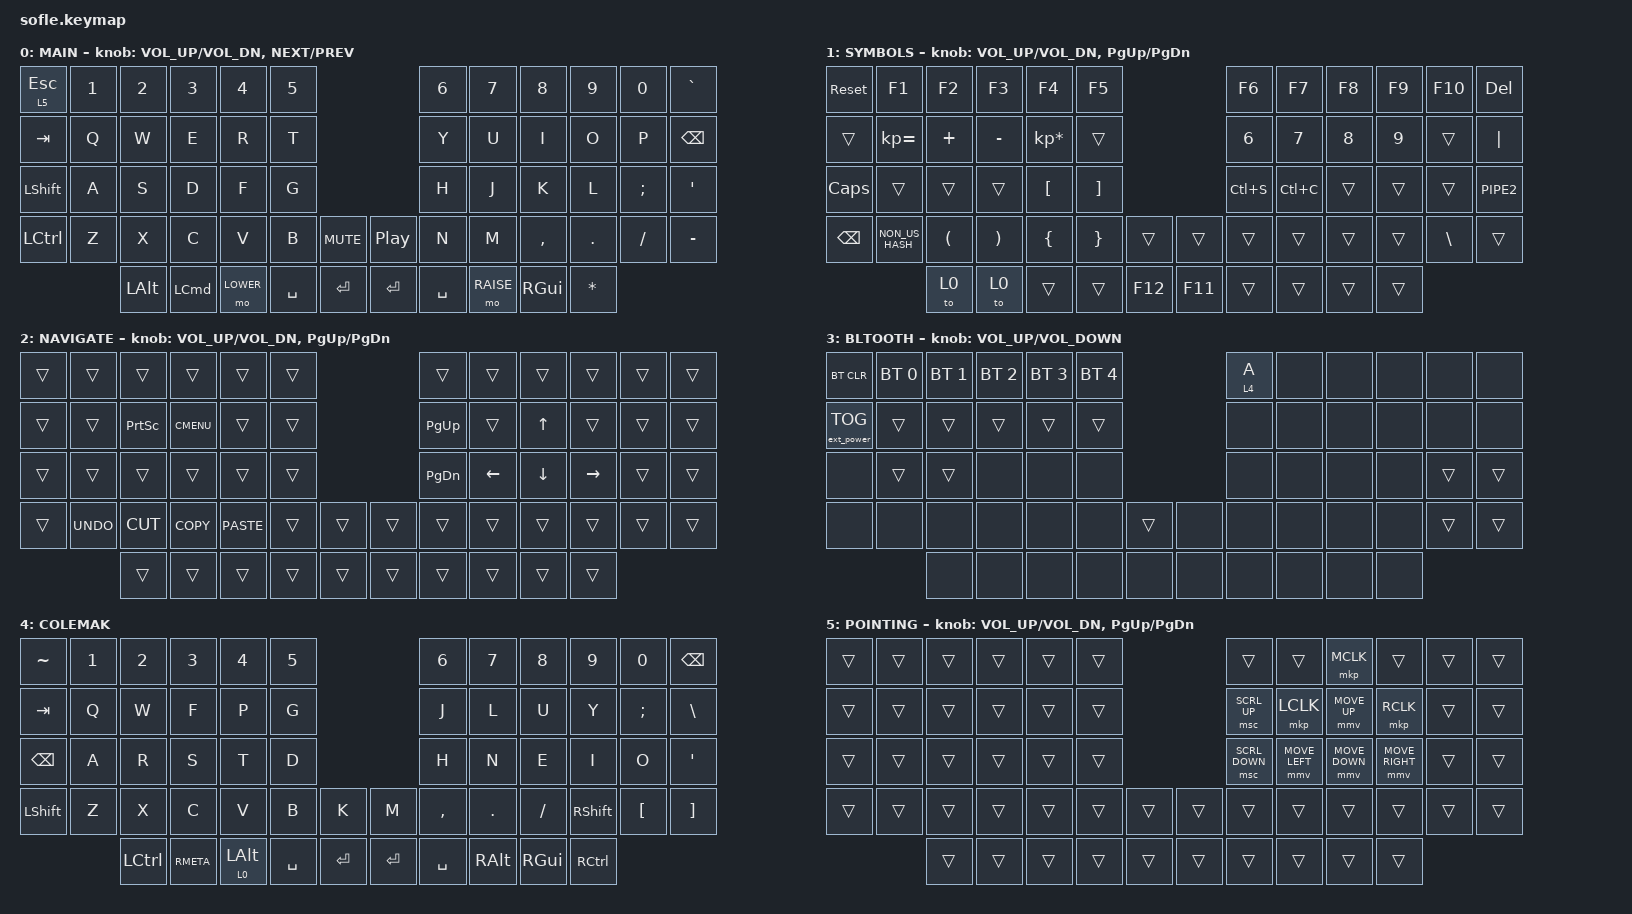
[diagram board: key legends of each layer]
/*
 * Copyright (c) 2020 The ZMK Contributors
 *
 * SPDX-License-Identifier: MIT
 */

#include <behaviors.dtsi>
#include <dt-bindings/zmk/bt.h>
#include <dt-bindings/zmk/ext_power.h>
#include <dt-bindings/zmk/keys.h>
#include <dt-bindings/zmk/pointing.h>

#define BASE 0
#define LOWER 1
#define RAISE 2
#define ADJUST 3
#define COLEMAK 4
#define POINTING 5

/ {
    // Activate ADJUST layer by pressing raise and lower

    conditional_layers {
        compatible = "zmk,conditional-layers";

        adjust_layer {
            if-layers = <1 2>;
            then-layer = <3>;
        };
    };

    keymap {
        compatible = "zmk,keymap";

        MAIN {
            display-name = "MAIN";

            bindings = <
&lt 5 ESCAPE      &kp N1  &kp N2        &kp N3            &kp N4      &kp N5                                     &kp N6     &kp N7    &kp N8         &kp N9     &kp N0    &kp GRAVE
&kp TAB         &kp Q   &kp W         &kp E             &kp R       &kp T                                      &kp Y      &kp U     &kp I          &kp O      &kp P     &kp BACKSPACE
&kp LEFT_SHIFT  &kp A   &kp S         &kp D             &kp F       &kp G                                      &kp H      &kp J     &kp K          &kp L      &kp SEMI  &kp SQT
&kp LCTRL       &kp Z   &kp X         &kp C             &kp V       &kp B      &kp C_MUTE    &kp C_PLAY_PAUSE  &kp N      &kp M     &kp COMMA      &kp DOT    &kp FSLH  &kp MINUS
                        &kp LEFT_ALT  &kp LEFT_COMMAND  &mo LOWER   &kp SPACE  &kp ENTER     &kp ENTER         &kp SPACE  &mo RAISE &kp RIGHT_GUI  &kp ASTRK
            >;

            sensor-bindings =
                <&inc_dec_kp C_VOL_UP C_VOL_DN>,
                <&inc_dec_kp C_NEXT C_PREV>;
        };

        SYMBOLS {
            display-name = "SYMBOLS";

            // TODO: Some binds are waiting for shifted keycode support.
            // ------------------------------------------------------------------------------------------------------------
            // |       |  F1 |  F2 |  F3  |  F4  |  F5  |                   |  F6  |  F7   |  F8   |  F9  |  F10  |  F11  |
            // |   `   |  1  |  2  |  3   |  4   |  5   |                   |  6   |  7    |  8    |  9   |   0   |  F12  |
            // |       |  !  |  @  |  #   |  $   |  %   |                   |  ^   |  &    |  *    |  (   |   )   |   |   |
            // |       |  =  |  -  |  +   |  {   |  }   |        |  |       |  [   |  ]    |  ;    |  :   |   \   |       |
            //               |     |      |      |      |        |  |       |      |       |       |      |

            bindings = <
&sys_reset     &kp F1           &kp F2                &kp F3                 &kp F4            &kp F5                                 &kp F6        &kp F7     &kp F8  &kp F9  &kp F10   &kp DELETE
&trans         &kp KP_EQUAL     &kp PLUS              &kp MINUS              &kp KP_ASTERISK   &trans                                 &kp NUMBER_6  &kp N7     &kp N8  &kp N9  &trans    &kp PIPE
&kp CAPS       &trans           &trans                &trans                 &kp LEFT_BRACKET  &kp RIGHT_BRACKET                      &kp LC(S)     &kp LC(C)  &trans  &trans  &trans    &kp PIPE2
&kp BACKSPACE  &kp NON_US_HASH  &kp LEFT_PARENTHESIS  &kp RIGHT_PARENTHESIS  &kp LBRC          &kp RBRC           &trans     &trans   &trans        &trans     &trans  &trans  &kp BSLH  &trans
                                &to 0                 &to 0                  &trans            &trans             &kp F12    &kp F11  &trans        &trans     &trans  &trans
            >;

            sensor-bindings = <&inc_dec_kp C_VOL_UP C_VOL_DN &inc_dec_kp PG_UP PG_DN>;
        };


        NAVIGATE {
            display-name = "NAVIGATE";

            // ------------------------------------------------------------------------------------------------------------
            // | BTCLR | BT1  | BT2  |  BT3  |  BT4  |  BT5 |                |      |      |       |      |       |       |
            // |       | INS  | PSCR | GUI   |       |      |                | PGUP |      |   ^   |      |       |       |
            // |       | ALT  | CTRL | SHIFT |       | CAPS |                | PGDN |   <- |   v   |  ->  |  DEL  | BKSPC |
            // |       | UNDO | CUT  | COPY  | PASTE |      |      |  |      |      |      |       |      |       |       |
            //                |      |       |       |      |      |  |      |      |      |       |      |

            bindings = <
&trans  &trans      &trans     &trans       &trans       &trans                    &trans     &trans    &trans    &trans     &trans  &trans
&trans  &trans      &kp PSCRN  &kp K_CMENU  &trans       &trans                    &kp PG_UP  &trans    &kp UP    &trans     &trans  &trans
&trans  &trans      &trans     &trans       &trans       &trans                    &kp PG_DN  &kp LEFT  &kp DOWN  &kp RIGHT  &trans  &trans
&trans  &kp K_UNDO  &kp K_CUT  &kp K_COPY   &kp K_PASTE  &trans  &trans    &trans  &trans     &trans    &trans    &trans     &trans  &trans
                    &trans     &trans       &trans       &trans  &trans    &trans  &trans     &trans    &trans    &trans
            >;

            sensor-bindings = <&inc_dec_kp C_VOL_UP C_VOL_DN &inc_dec_kp PG_UP PG_DN>;
        };

        BLTOOTH {
            // ----------------------------------------------------------------------------------------------------------------------------
            // | BTCLR  |  BT1    |  BT2    |   BT3   |   BT4   |   BT5   |                  |      |      |       |      |       |       |
            // | EXTPWR | RGB_HUD | RGB_HUI | RGB_SAD | RGB_SAI | RGB_EFF |                  |      |      |       |      |       |       |
            // |        | RGB_BRD | RGB_BRI |         |         |         |                  |      |      |       |      |       |       |
            // |        |         |         |         |         |         | RGB_TOG | |      |      |      |       |      |       |       |
            //                    |         |         |         |         |         | |      |      |      |       |      |

            display-name = "BLTOOTH";
            bindings = <
&bt BT_CLR         &bt BT_SEL 0  &bt BT_SEL 1  &bt BT_SEL 2  &bt BT_SEL 3  &bt BT_SEL 4                   &lt 4 A  &none  &none  &none  &none   &none
&ext_power EP_TOG  &trans        &trans        &trans        &trans        &trans                         &none    &none  &none  &none  &none   &none
&none              &trans        &trans        &none         &none         &none                          &none    &none  &none  &none  &trans  &trans
&none              &none         &none         &none         &none         &none         &trans    &none  &none    &none  &none  &none  &trans  &trans
                                 &none         &none         &none         &none         &none     &none  &none    &none  &none  &none
            >;

            sensor-bindings = <&inc_dec_kp K_VOLUME_UP C_VOLUME_DOWN>;
        };

        COLEMAK {
            bindings = <
&kp TILDE  &kp N1  &kp N2     &kp N3     &kp N4          &kp N5                             &kp N6     &kp N7    &kp N8    &kp N9     &kp N0    &kp BSPC
&kp TAB    &kp Q   &kp W      &kp F      &kp P           &kp G                              &kp J      &kp L     &kp U     &kp Y      &kp SEMI  &kp BSLH
&kp BSPC   &kp A   &kp R      &kp S      &kp T           &kp D                              &kp H      &kp N     &kp E     &kp I      &kp O     &kp APOS
&kp LSHFT  &kp Z   &kp X      &kp C      &kp V           &kp B      &kp K        &kp M      &kp COMMA  &kp DOT   &kp FSLH  &kp RSHFT  &kp LBKT  &kp RBKT
                   &kp LCTRL  &kp RMETA  &lt 0 LEFT_ALT  &kp SPACE  &kp ENTER    &kp ENTER  &kp SPACE  &kp RALT  &kp RGUI  &kp RCTRL
            >;
        };

        POINTING {
            display-name = "POINTING";

            bindings = <
&trans  &trans      &trans     &trans       &trans       &trans                    &trans           &trans            &mkp MCLK       &trans            &trans  &trans
&trans  &trans      &trans     &trans       &trans       &trans                    &msc SCRL_UP     &mkp LCLK         &mmv MOVE_UP    &mkp RCLK         &trans  &trans
&trans  &trans      &trans     &trans       &trans       &trans                    &msc SCRL_DOWN   &mmv MOVE_LEFT    &mmv MOVE_DOWN  &mmv MOVE_RIGHT   &trans  &trans
&trans  &trans      &trans     &trans       &trans       &trans  &trans    &trans  &trans           &trans            &trans          &trans            &trans  &trans
                    &trans     &trans       &trans       &trans  &trans    &trans  &trans           &trans            &trans          &trans
            >;

            sensor-bindings = <&inc_dec_kp C_VOL_UP C_VOL_DN &inc_dec_kp PG_UP PG_DN>;
        };
    };
};
